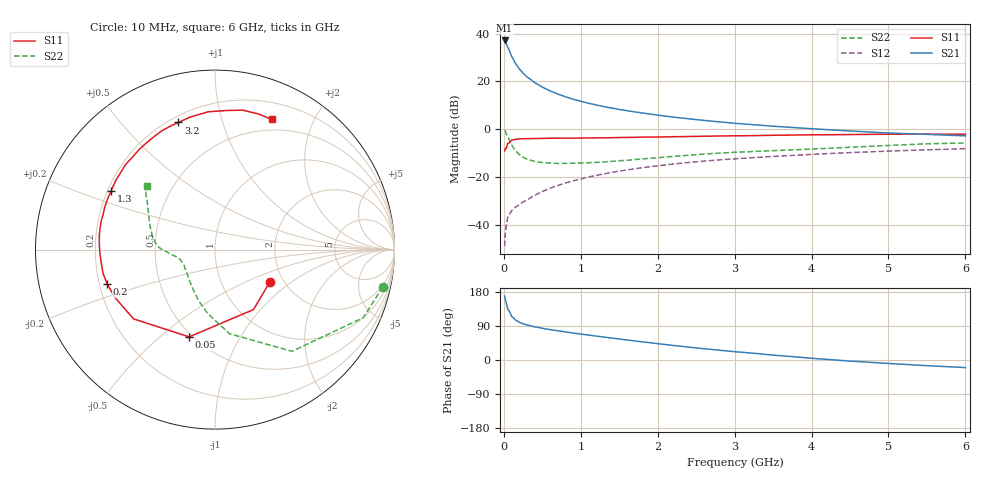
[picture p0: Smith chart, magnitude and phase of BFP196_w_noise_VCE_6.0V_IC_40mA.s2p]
! Infineon Technologies  Discrete & RF Semiconductors
! BFP196
! VCE =  6.0 V,  IC =  40 mA
! Common Emitter S-Parameters:  Jan 2017
# GHz  S  MA  R  50
!  f  S11  S21  S12  S22
! GHz  MAG  ANG  MAG  ANG  MAG  ANG  MAG  ANG
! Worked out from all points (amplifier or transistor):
!   77 points, 10 MHz to 6 GHz, reference 50 ohm
!   highest |S21| = 37.2 dB at 10 MHz (marker M1)
!   |S21| within 3 dB of that: start of sweep to 54.39 MHz
!   unconditionally stable (mu >= 1): 636 MHz to 2.424 GHz
!   at 130 MHz: K = 0.55, MSG = 31.1 dB, |S12| = -33.2 dB
!   at 2.2 GHz: K = 1.01, MAG = 9.2 dB, |S12| = -14.5 dB
!   at 6 GHz: K = 0.94, MSG = 2.7 dB, |S12| = -8.1 dB
!   lowest NFmin = 1.34 dB at 450 MHz
!   S11 on the Smith chart (normalised r, x): 10 MHz: 1.69, -0.70; 50 MHz: 0.48, -0.63; 200 MHz: 0.23, -0.15; 1.3 GHz: 0.21, +0.25; 3.2 GHz: 0.23, +0.73; 6 GHz: 0.38, +1.46
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0.01  0.3548 -30.9  72.13 168.6  0.0036 78.4  0.9584 -12.5
0.02  0.397 -57.3  69.16 158.5  0.007 77.0  0.9087 -24.7
0.05  0.5071 -106.5  52.92 134.9  0.0143 57.6  0.7105 -52.9
0.1  0.5958 -139.6  33.94 115.2  0.0196 52.1  0.4754 -80.3
0.15  0.6176 -154.3  24.04 105.7  0.0235 51.5  0.3579 -96.5
0.2  0.6306 -162.3  18.47 99.8  0.0264 54.5  0.2977 -108.0
0.25  0.6378 -168.2  14.93 95.5  0.0302 55.4  0.261 -116.5
0.3  0.6374 -172.3  12.52 92.5  0.0332 57.8  0.2376 -124.0
0.4  0.6421 -178.6  9.496 87.5  0.0414 61.4  0.2132 -134.4
0.5  0.6458 176.6  7.611 83.6  0.0499 62.7  0.2021 -141.9
0.6  0.6498 172.7  6.38 80.2  0.0586 63.7  0.1969 -147.9
0.7  0.6513 169.2  5.475 77.2  0.0667 64.8  0.193 -152.3
0.9  0.6533 162.5  4.264 71.2  0.0837 64.0  0.1958 -158.4
1.1  0.66 156.5  3.516 65.9  0.1005 62.9  0.2 -162.8
1.3  0.6646 150.7  2.988 60.6  0.1167 61.0  0.208 -166.3
1.7  0.68 139.8  2.316 50.4  0.1494 56.7  0.2329 -171.7
2.1  0.6948 129.3  1.892 40.9  0.1802 51.6  0.2631 -176.3
3.1  0.734 107.9  1.301 20.3  0.2473 38.6  0.3361 172.8
3.2  0.7371 106.1  1.264 18.6  0.2531 37.4  0.3412 171.4
4.1  0.7693 91.4  1.007 3.1  0.3039 26.7  0.393 157.9
5.1  0.7914 77.5  0.826 -10.3  0.3547 15.1  0.4675 144.2
6  0.7915 66.5  0.73 -20.1  0.3928 5.0  0.5173 137.0
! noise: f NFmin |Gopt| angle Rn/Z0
0.45  1.34  0.36  177  0.05
0.9  1.49  0.46  -167  0.07
1.9  2.31  0.68  -133  0.28
2.4  2.71  0.7  -120  0.62
